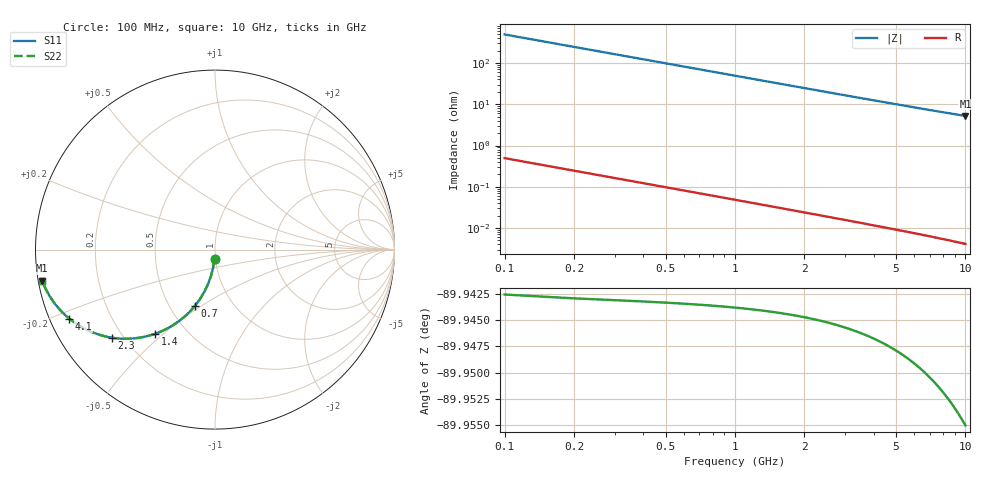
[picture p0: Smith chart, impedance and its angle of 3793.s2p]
# Hz S RI R 50.00
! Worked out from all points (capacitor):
!   100 points, 100 MHz to 10 GHz, reference 50 ohm
!   read as one part in shunt: C = 3.22 pF near 100 MHz
!   lowest |Z| = 5.25 ohm at 10 GHz (marker M1)
!   S11 on the Smith chart (normalised r, x): 100 MHz: 0.99, -0.10; 700 MHz: 0.67, -0.47; 1.4 GHz: 0.33, -0.47; 2.3 GHz: 0.16, -0.36; 4.1 GHz: 0.06, -0.22; 10 GHz: 0.01, -0.09
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1e8  -0.00256 -0.0503  0.9974 -0.0506  0.9974 -0.0506  -0.00256 -0.0503
2e8  -0.0102 -0.0999  0.9897 -0.1004  0.9897 -0.1004  -0.0102 -0.0999
3e8  -0.0226 -0.1479  0.9773 -0.1487  0.9773 -0.1487  -0.0226 -0.1479
4e8  -0.0395 -0.1938  0.9604 -0.1949  0.9604 -0.1949  -0.0395 -0.1938
5e8  -0.0603 -0.2369  0.9396 -0.2383  0.9396 -0.2383  -0.0603 -0.2369
6e8  -0.0845 -0.2769  0.9154 -0.2786  0.9154 -0.2786  -0.0845 -0.2769
7e8  -0.1116 -0.3135  0.8883 -0.3154  0.8883 -0.3154  -0.1116 -0.3135
8e8  -0.1409 -0.3464  0.859 -0.3486  0.859 -0.3486  -0.1409 -0.3464
1e9  -0.2039 -0.401  0.796 -0.4038  0.796 -0.4038  -0.2039 -0.401
1.2e9  -0.2693 -0.4415  0.7306 -0.4448  0.7306 -0.4448  -0.2693 -0.4415
1.4e9  -0.334 -0.4692  0.6659 -0.4731  0.6659 -0.4731  -0.334 -0.4692
1.6e9  -0.3957 -0.4863  0.6042 -0.4908  0.6042 -0.4908  -0.3957 -0.4863
1.8e9  -0.4531 -0.4948  0.5468 -0.4998  0.5468 -0.4998  -0.4531 -0.4948
2.3e9  -0.5748 -0.4906  0.4251 -0.4971  0.4251 -0.4971  -0.5748 -0.4906
2.8e9  -0.6669 -0.4668  0.333 -0.4747  0.333 -0.4747  -0.6669 -0.4668
3.4e9  -0.7469 -0.4294  0.253 -0.4391  0.253 -0.4391  -0.7469 -0.4294
4.1e9  -0.811 -0.3851  0.1888 -0.3968  0.1888 -0.3968  -0.811 -0.3851
5.1e9  -0.8692 -0.3292  0.1306 -0.3439  0.1306 -0.3439  -0.8692 -0.3292
5.8e9  -0.8959 -0.2964  0.1039 -0.3131  0.1039 -0.3131  -0.8959 -0.2964
6.7e9  -0.92 -0.2608  0.0797 -0.2802  0.0797 -0.2802  -0.92 -0.2608
8.4e9  -0.9479 -0.209  0.0517 -0.2337  0.0517 -0.2337  -0.9479 -0.209
1e10  -0.9629 -0.173  0.0366 -0.2027  0.0366 -0.2027  -0.9629 -0.173
